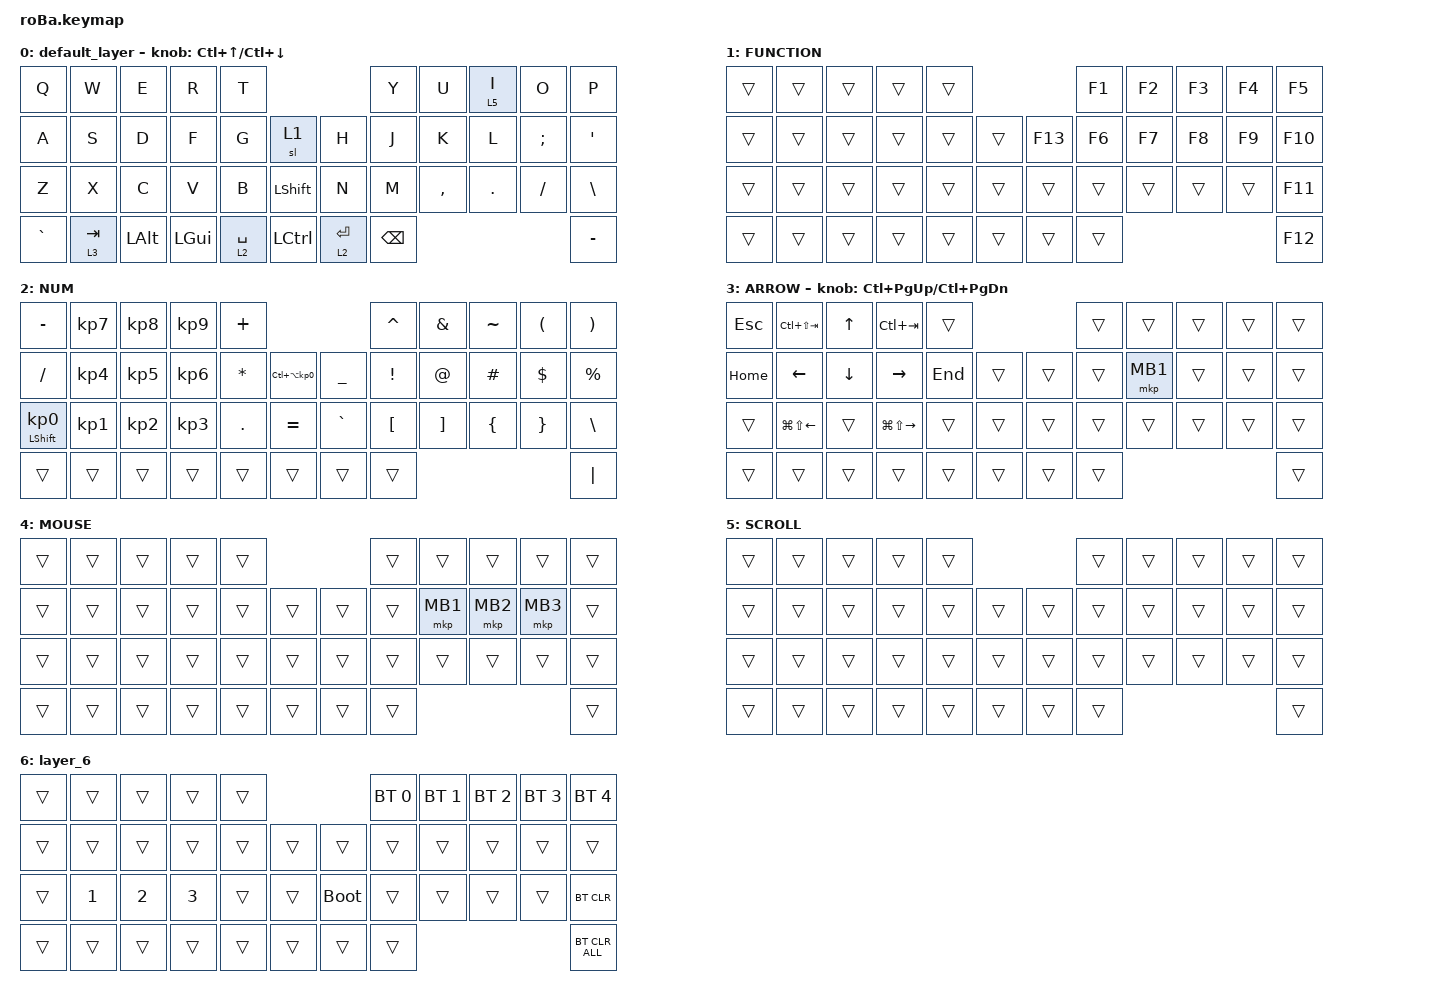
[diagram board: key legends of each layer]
#include <behaviors.dtsi>
#include <dt-bindings/zmk/bt.h>
#include <dt-bindings/zmk/keys.h>
#include <dt-bindings/zmk/pointing.h>

#define MOUSE 4
#define SCROLL 5
#define NUM 6

&mt {
    flavor = "balanced";
    quick-tap-ms = <0>;
};

/ {
    combos {
        compatible = "zmk,combos";

        Signature {
            bindings = <&Signature>;
            key-positions = <11 12>;
        };
    };

    macros {
        to_layer_0: to_layer_0 {
            compatible = "zmk,behavior-macro-one-param";
            #binding-cells = <1>;
            bindings = <&to 0 &macro_param_1to1 &kp MACRO_PLACEHOLDER>;
            label = "TO_LAYER_0";
        };

        Signature: Signature {
            compatible = "zmk,behavior-macro";
            #binding-cells = <0>;
            bindings = <&kp LG(LS(V)) &kp UP_ARROW &kp UP_ARROW &kp UP_ARROW &kp UP_ARROW &kp UP_ARROW &kp UP_ARROW &kp RIGHT &kp KP_ENTER>;
            label = "SIGNATURE";
        };
    };

    behaviors {
        lt_to_layer_0: lt_to_layer_0 {
            compatible = "zmk,behavior-hold-tap";
            label = "LAYER_TAP_TO_0";
            bindings = <&mo>, <&to_layer_0>;

            #binding-cells = <2>;
            tapping-term-ms = <200>;
        };
    };

    keymap {
        compatible = "zmk,keymap";

        default_layer {
            bindings = <
&kp Q      &kp W      &kp E         &kp R         &kp T                                         &kp Y          &kp U      &lt 5 I     &kp O          &kp P
&kp A      &kp S      &kp D         &kp F         &kp G        &sl 1               &kp H        &kp J          &kp K      &kp L       &kp SEMICOLON  &kp SQT
&kp Z      &kp X      &kp C         &kp V         &kp B        &kp LEFT_SHIFT      &kp N        &kp M          &kp COMMA  &kp PERIOD  &kp SLASH      &kp BACKSLASH
&kp GRAVE  &lt 3 TAB  &kp LEFT_ALT  &kp LEFT_GUI  &lt 2 SPACE  &kp LCTRL           &lt 2 ENTER  &kp BACKSPACE                                        &kp MINUS
            >;

            sensor-bindings = <&inc_dec_kp LC(UP_ARROW) LC(DOWN)>;
        };

        FUNCTION {
            bindings = <
&trans  &trans  &trans  &trans  &trans                       &kp F1  &kp F2  &kp F3  &kp F4  &kp F5
&trans  &trans  &trans  &trans  &trans  &trans      &kp F13  &kp F6  &kp F7  &kp F8  &kp F9  &kp F10
&trans  &trans  &trans  &trans  &trans  &trans      &trans   &trans  &trans  &trans  &trans  &kp F11
&trans  &trans  &trans  &trans  &trans  &trans      &trans   &trans                          &kp F12
            >;
        };

        NUM {
            bindings = <
&kp MINUS                   &kp KP_NUMBER_7  &kp KP_NUMBER_8  &kp KP_NUMBER_9  &kp PLUS                                                   &kp CARET         &kp AMPERSAND      &kp TILDE       &kp LEFT_PARENTHESIS  &kp RIGHT_PARENTHESIS
&kp SLASH                   &kp KP_NUMBER_4  &kp KP_NUMBER_5  &kp KP_NUMBER_6  &kp ASTERISK  &kp LC(LA(KP_NUMBER_0))      &kp UNDERSCORE  &kp EXCLAMATION   &kp AT_SIGN        &kp HASH        &kp DOLLAR            &kp PERCENT
&mt LEFT_SHIFT KP_NUMBER_0  &kp KP_NUMBER_1  &kp KP_NUMBER_2  &kp KP_NUMBER_3  &kp PERIOD    &kp EQUAL                    &kp GRAVE       &kp LEFT_BRACKET  &kp RIGHT_BRACKET  &kp LEFT_BRACE  &kp RIGHT_BRACE       &kp BACKSLASH
&trans                      &trans           &trans           &trans           &trans        &trans                       &trans          &trans                                                                     &kp PIPE
            >;
        };

        ARROW {
            bindings = <
&kp ESCAPE  &kp LC(LS(TAB))         &kp UP_ARROW    &kp LC(TAB)              &trans                       &trans  &trans    &trans  &trans  &trans
&kp HOME    &kp LEFT_ARROW          &kp DOWN_ARROW  &kp RIGHT_ARROW          &kp END  &trans      &trans  &trans  &mkp MB1  &trans  &trans  &trans
&trans      &kp LG(LS(LEFT_ARROW))  &trans          &kp LG(LS(RIGHT_ARROW))  &trans   &trans      &trans  &trans  &trans    &trans  &trans  &trans
&trans      &trans                  &trans          &trans                   &trans   &trans      &trans  &trans                            &trans
            >;

            sensor-bindings = <&inc_dec_kp LC(PAGE_UP) LC(PAGE_DOWN)>;
        };

        MOUSE {
            bindings = <
&trans  &trans  &trans  &trans  &trans                      &trans  &trans    &trans    &trans    &trans
&trans  &trans  &trans  &trans  &trans  &trans      &trans  &trans  &mkp MB1  &mkp MB2  &mkp MB3  &trans
&trans  &trans  &trans  &trans  &trans  &trans      &trans  &trans  &trans    &trans    &trans    &trans
&trans  &trans  &trans  &trans  &trans  &trans      &trans  &trans                                &trans
            >;
        };

        SCROLL {
            bindings = <
&trans  &trans  &trans  &trans  &trans                      &trans  &trans  &trans  &trans  &trans
&trans  &trans  &trans  &trans  &trans  &trans      &trans  &trans  &trans  &trans  &trans  &trans
&trans  &trans  &trans  &trans  &trans  &trans      &trans  &trans  &trans  &trans  &trans  &trans
&trans  &trans  &trans  &trans  &trans  &trans      &trans  &trans                          &trans
            >;
        };

        layer_6 {
            bindings = <
&trans  &trans        &trans        &trans        &trans                           &bt BT_SEL 0  &bt BT_SEL 1  &bt BT_SEL 2  &bt BT_SEL 3  &bt BT_SEL 4
&trans  &trans        &trans        &trans        &trans  &trans      &trans       &trans        &trans        &trans        &trans        &trans
&trans  &kp NUMBER_1  &kp NUMBER_2  &kp NUMBER_3  &trans  &trans      &bootloader  &trans        &trans        &trans        &trans        &bt BT_CLR
&trans  &trans        &trans        &trans        &trans  &trans      &trans       &trans                                                  &bt BT_CLR_ALL
            >;
        };
    };
};
